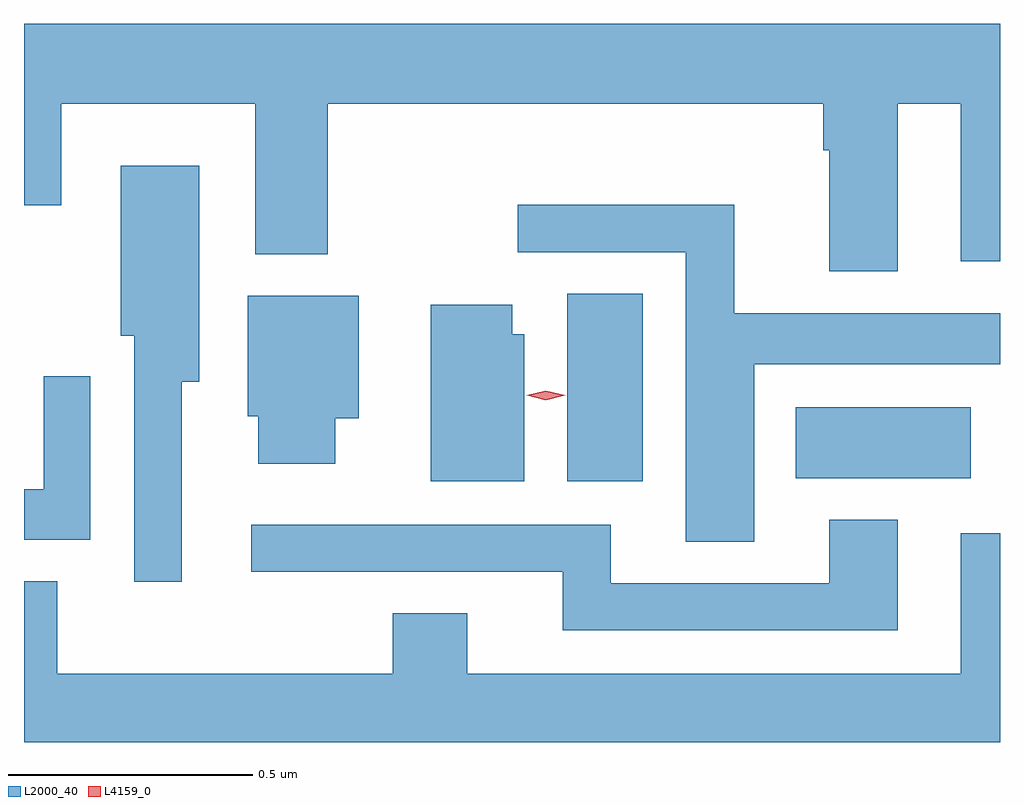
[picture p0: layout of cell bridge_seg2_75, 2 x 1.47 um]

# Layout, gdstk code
import gdstk
lib = gdstk.Library(unit=1e-6, precision=1e-09)
def R(c, l, rs):  # rectangles x0, y0, x1, y1
    for r in rs: c.add(gdstk.rectangle(r[:2], r[2:], *l))
def P(c, l, *ps):  # polygons
    for p in ps: c.add(gdstk.Polygon(p, *l))
L2000_40 = (2000, 40)
L4159_0 = (4159, 0)

bridge_seg2_75 = lib.new_cell('bridge_seg2_75')
R(bridge_seg2_75, L2000_40, [(281.012,620.222,281.167,620.606), (281.48,620.228,281.839,620.374)])
P(bridge_seg2_75, L2000_40, [(281.689,620.996),(281.819,620.996),(281.819,620.673),(281.899,620.673),(281.899,621.16),(279.899,621.16),(279.899,620.788),(279.975,620.788),(279.975,620.996),(280.373,620.996),(280.373,620.687),(280.521,620.687),(280.521,620.996),(281.537,620.996),(281.537,620.9),(281.549,620.9),(281.549,620.652),(281.689,620.652)],
  [(280.222,620.426),(280.258,620.426),(280.258,620.869),(280.097,620.869),(280.097,620.52),(280.125,620.52),(280.125,620.016),(280.222,620.016)],
  [(281.395,620.462),(281.899,620.462),(281.899,620.566),(281.354,620.566),(281.354,620.789),(280.911,620.789),(280.911,620.691),(281.255,620.691),(281.255,620.098),(281.395,620.098)],
  [(280.537,620.351),(280.585,620.351),(280.585,620.602),(280.358,620.602),(280.358,620.355),(280.379,620.355),(280.379,620.258),(280.537,620.258)],
  [(280.924,620.523),(280.9,620.523),(280.9,620.584),(280.733,620.584),(280.733,620.222),(280.924,620.222)],
  [(280.035,620.437),(279.939,620.437),(279.939,620.206),(279.899,620.206),(279.899,620.102),(280.035,620.102)],
  [(281.689,620.143),(281.549,620.143),(281.549,620.013),(281.101,620.013),(281.101,620.133),(280.365,620.133),(280.365,620.037),(281.003,620.037),(281.003,619.917),(281.689,619.917)],
  [(281.899,620.116),(281.819,620.116),(281.819,619.828),(280.807,619.828),(280.807,619.952),(280.655,619.952),(280.655,619.828),(279.967,619.828),(279.967,620.017),(279.899,620.017),(279.899,619.687),(281.899,619.687)])
P(bridge_seg2_75, L4159_0, [(280.968,620.388),(280.929,620.398),(280.929,620.398),(280.929,620.398),(280.968,620.408),(281.008,620.398),(281.008,620.398),(281.008,620.398)])

lib.write_gds('bridge_seg2_75.gds')
